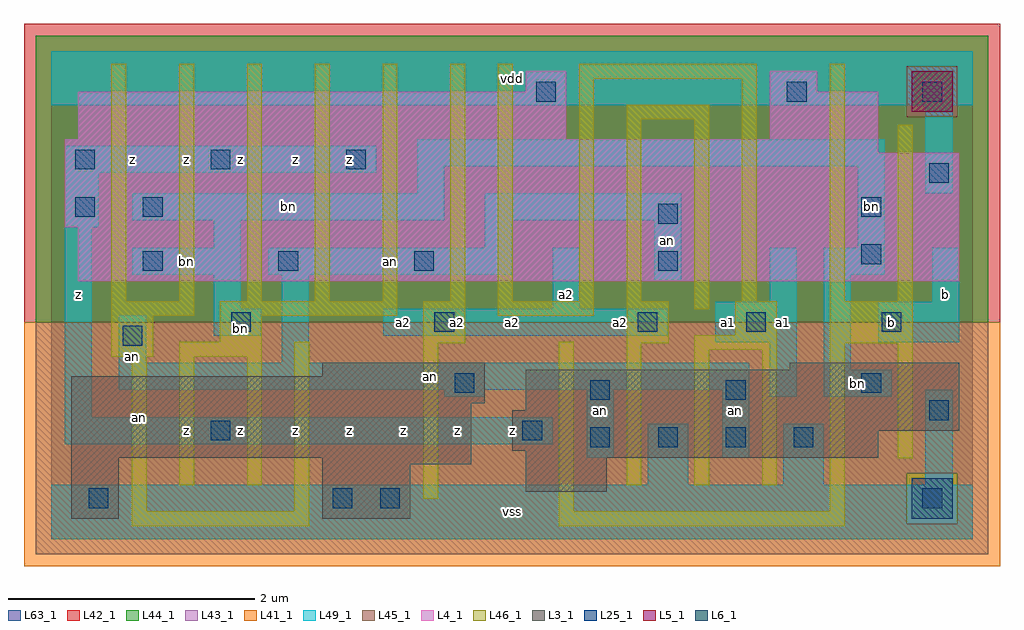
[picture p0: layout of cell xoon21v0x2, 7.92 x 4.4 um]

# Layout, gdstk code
import gdstk
lib = gdstk.Library(unit=1e-6, precision=1e-09)
def R(c, l, rs):  # rectangles x0, y0, x1, y1
    for r in rs: c.add(gdstk.rectangle(r[:2], r[2:], *l))
def A(c, l, x, y, w, h, nx, ny, dx, dy):  # array of equal rectangles
    R(c, l, [(x+i*dx, y+j*dy, x+i*dx+w, y+j*dy+h) for i in range(nx) for j in range(ny)])
L3_1 = (3, 1)
L4_1 = (4, 1)
L5_1 = (5, 1)
L6_1 = (6, 1)
L25_1 = (25, 1)
L41_1 = (41, 1)
L42_1 = (42, 1)
L43_1 = (43, 1)
L44_1 = (44, 1)
L45_1 = (45, 1)
L46_1 = (46, 1)
L49_1 = (49, 1)
L63_1 = (63, 1)

xoon21v0x2 = lib.new_cell('xoon21v0x2')
R(xoon21v0x2, L3_1, [(0.165,0.165,0.55,0.66), (2.2,0.165,2.915,0.605), (3.85,0.385,4.51,0.66), (2.2,0.605,3.41,0.66), (0.165,0.66,3.41,1.1), (3.85,0.66,6.71,0.715), (3.74,0.715,6.71,0.88), (3.74,0.88,7.37,1.045), (3.85,1.045,7.37,1.375), (0.165,1.1,3.52,1.32), (2.2,1.32,3.52,1.43), (5.995,1.375,7.37,1.43)])
R(xoon21v0x2, L4_1, [(0.22,2.09,7.37,2.53), (0.11,2.53,7.37,3.135), (0.11,3.135,6.71,3.245), (0.22,3.245,4.18,3.63), (5.83,3.245,6.71,3.63), (3.85,3.63,4.18,3.795), (5.83,3.63,6.215,3.795)])
R(xoon21v0x2, L5_1, [(6.985,3.465,7.315,3.795)])
R(xoon21v0x2, L6_1, [(6.985,0.165,7.315,0.495)])
A(xoon21v0x2, L25_1, 4.375, 0.745, 0.16, 0.16, 4, 1, 0.55, 0)
A(xoon21v0x2, L25_1, 1.46, 1.68, 0.16, 0.16, 3, 1, 1.65, 0)
A(xoon21v0x2, L25_1, 0.745, 2.175, 0.16, 0.16, 3, 1, 1.1, 0)
A(xoon21v0x2, L25_1, 0.195, 3, 0.16, 0.16, 3, 1, 1.1, 0)
R(xoon21v0x2, L25_1, [(0.305,0.25,0.465,0.41), (2.285,0.25,2.445,0.41), (2.67,0.25,2.83,0.41), (7.07,0.25,7.23,0.41), (1.295,0.8,1.455,0.96), (3.825,0.8,3.985,0.96), (7.125,0.965,7.285,1.125), (4.375,1.13,4.535,1.29), (5.475,1.13,5.635,1.29), (3.275,1.185,3.435,1.345), (6.575,1.185,6.735,1.345), (0.58,1.57,0.74,1.73), (5.64,1.68,5.8,1.84), (6.74,1.68,6.9,1.84), (4.925,2.175,5.085,2.335), (6.575,2.23,6.735,2.39), (4.925,2.56,5.085,2.72), (0.195,2.615,0.355,2.775), (0.745,2.615,0.905,2.775), (6.575,2.615,6.735,2.775), (7.125,2.89,7.285,3.05), (3.935,3.55,4.095,3.71), (5.97,3.55,6.13,3.71), (7.07,3.55,7.23,3.71)])
R(xoon21v0x2, L41_1, [(-0.22,-0.22,7.7,1.76)])
R(xoon21v0x2, L42_1, [(-0.22,1.76,7.7,4.18)])
R(xoon21v0x2, L43_1, [(0.165,0.165,0.55,0.66), (2.2,0.165,2.915,0.605), (6.985,0.165,7.315,0.495), (3.85,0.385,4.51,0.66), (2.2,0.605,3.41,0.66), (0.165,0.66,3.41,1.1), (3.85,0.66,6.71,0.715), (3.74,0.715,6.71,0.88), (3.74,0.88,7.37,1.045), (3.85,1.045,7.37,1.375), (0.165,1.1,3.52,1.32), (2.2,1.32,3.52,1.43), (5.995,1.375,7.37,1.43), (0.22,2.09,7.37,2.53), (0.11,2.53,7.37,3.135), (0.11,3.135,6.71,3.245), (0.22,3.245,4.18,3.63), (5.83,3.245,6.71,3.63), (6.985,3.465,7.315,3.795), (3.85,3.63,4.18,3.795), (5.83,3.63,6.215,3.795)])
R(xoon21v0x2, L44_1, [(6.945,0.125,7.355,0.535), (-0.125,1.76,7.605,3.425), (-0.125,3.425,6.945,3.835), (7.355,3.425,7.605,3.835), (-0.125,3.835,7.605,4.085)])
R(xoon21v0x2, L45_1, [(-0.125,-0.125,7.605,0.125), (-0.125,0.125,6.945,0.535), (7.355,0.125,7.605,0.535), (-0.125,0.535,7.605,1.76), (6.945,3.425,7.355,3.835)])
A(xoon21v0x2, L46_1, 0.49, 1.93, 0.12, 1.925, 6, 1, 0.55, 0)
R(xoon21v0x2, L46_1, [(0.655,0.105,2.095,0.225), (4.12,0.105,6.44,0.225), (0.655,0.225,0.775,1.48), (1.975,0.225,2.095,1.6), (4.12,0.225,4.24,1.6), (6.32,0.225,6.44,1.59), (3.02,0.325,3.14,1.59), (1.04,0.435,1.16,1.48), (1.59,0.435,1.71,1.48), (4.67,0.435,4.79,1.59), (5.22,0.435,5.34,1.535), (5.77,0.435,5.89,1.535), (6.87,0.655,6.99,1.59), (0.49,1.48,0.83,1.81), (1.04,1.48,1.71,1.6), (5.22,1.535,5.89,1.655), (3.02,1.59,3.36,1.93), (4.67,1.59,5.01,1.93), (6.32,1.59,6.99,1.93), (1.37,1.6,1.71,1.81), (5.55,1.655,5.89,1.93), (0.49,1.81,1.16,1.93), (1.37,1.81,2.81,1.93), (3.625,1.81,4.405,1.93), (5.22,1.865,5.34,3.405), (3.625,1.93,3.745,3.855), (4.285,1.93,4.405,3.735), (4.67,1.93,4.79,3.405), (5.605,1.93,5.725,3.735), (6.32,1.93,6.44,3.855), (6.87,1.93,6.99,3.36), (4.67,3.405,5.34,3.525), (4.285,3.735,5.725,3.855)])
R(xoon21v0x2, L49_1, [(0,0,7.48,0.44), (4.84,0.44,5.17,0.935), (5.94,0.44,6.27,0.935), (7.095,0.44,7.315,1.21), (4.345,0.66,4.565,1.21), (5.445,0.66,5.665,1.21), (0.11,0.77,4.07,0.99), (0.11,0.99,0.33,2.53), (3.19,1.155,3.52,1.21), (5.83,1.155,6.05,1.595), (6.27,1.155,6.82,1.375), (0.55,1.21,5.665,1.43), (6.27,1.375,6.49,2.145), (0.55,1.43,0.77,1.815), (1.87,1.43,2.09,2.145), (5.39,1.595,6.05,1.925), (6.71,1.595,7.37,1.925), (1.32,1.65,1.705,1.87), (2.695,1.65,5.005,1.87), (1.32,1.87,1.54,2.145), (4.07,1.87,4.29,2.365), (5.83,1.925,6.05,2.365), (7.15,1.925,7.37,2.365), (4.895,2.09,5.115,2.585), (0.66,2.145,1.54,2.365), (1.76,2.145,3.74,2.365), (6.27,2.145,6.765,2.365), (1.32,2.365,1.54,2.585), (3.52,2.365,3.74,2.585), (6.545,2.365,6.765,3.025), (0.11,2.53,0.385,2.97), (0.66,2.585,3.19,2.805), (3.52,2.585,5.115,2.805), (2.97,2.805,3.19,3.025), (7.095,2.805,7.315,3.52), (0.11,2.97,2.64,3.19), (2.97,3.025,6.765,3.245), (0,3.52,7.48,3.96)])
R(xoon21v0x2, L63_1, [(0,0,7.48,3.96)])
xoon21v0x2.add(gdstk.Label('an', (0.715,0.99), layer=46, texttype=1))
xoon21v0x2.add(gdstk.Label('bn', (1.54,1.705), layer=49, texttype=1))
xoon21v0x2.add(gdstk.Label('z', (0.66,0.88), layer=49, texttype=1))
xoon21v0x2.add(gdstk.Label('z', (1.1,0.88), layer=49, texttype=1))
xoon21v0x2.add(gdstk.Label('an', (0.66,1.485), layer=49, texttype=1))
xoon21v0x2.add(gdstk.Label('z', (0.22,1.98), layer=49, texttype=1))
xoon21v0x2.add(gdstk.Label('z', (0.66,3.08), layer=49, texttype=1))
xoon21v0x2.add(gdstk.Label('z', (1.1,3.08), layer=49, texttype=1))
xoon21v0x2.add(gdstk.Label('z', (1.98,0.88), layer=49, texttype=1))
xoon21v0x2.add(gdstk.Label('z', (2.42,0.88), layer=49, texttype=1))
xoon21v0x2.add(gdstk.Label('z', (1.54,0.88), layer=49, texttype=1))
xoon21v0x2.add(gdstk.Label('bn', (1.485,1.76), layer=49, texttype=1))
xoon21v0x2.add(gdstk.Label('bn', (1.1,2.255), layer=49, texttype=1))
xoon21v0x2.add(gdstk.Label('z', (1.98,3.08), layer=49, texttype=1))
xoon21v0x2.add(gdstk.Label('z', (2.42,3.08), layer=49, texttype=1))
xoon21v0x2.add(gdstk.Label('z', (1.54,3.08), layer=49, texttype=1))
xoon21v0x2.add(gdstk.Label('vss', (3.74,0.22), layer=49, texttype=1))
xoon21v0x2.add(gdstk.Label('z', (3.3,0.88), layer=49, texttype=1))
xoon21v0x2.add(gdstk.Label('z', (3.74,0.88), layer=49, texttype=1))
xoon21v0x2.add(gdstk.Label('z', (2.86,0.88), layer=49, texttype=1))
xoon21v0x2.add(gdstk.Label('a2', (3.3,1.76), layer=49, texttype=1))
xoon21v0x2.add(gdstk.Label('a2', (3.74,1.76), layer=49, texttype=1))
xoon21v0x2.add(gdstk.Label('a2', (2.86,1.76), layer=49, texttype=1))
xoon21v0x2.add(gdstk.Label('a2', (4.18,1.98), layer=49, texttype=1))
xoon21v0x2.add(gdstk.Label('an', (2.75,2.255), layer=49, texttype=1))
xoon21v0x2.add(gdstk.Label('bn', (1.925,2.695), layer=49, texttype=1))
xoon21v0x2.add(gdstk.Label('vdd', (3.74,3.74), layer=49, texttype=1))
xoon21v0x2.add(gdstk.Label('an', (5.555,1.045), layer=49, texttype=1))
xoon21v0x2.add(gdstk.Label('an', (4.455,1.045), layer=49, texttype=1))
xoon21v0x2.add(gdstk.Label('an', (3.08,1.32), layer=49, texttype=1))
xoon21v0x2.add(gdstk.Label('a1', (5.5,1.76), layer=49, texttype=1))
xoon21v0x2.add(gdstk.Label('a1', (5.94,1.76), layer=49, texttype=1))
xoon21v0x2.add(gdstk.Label('a2', (4.62,1.76), layer=49, texttype=1))
xoon21v0x2.add(gdstk.Label('an', (5.005,2.42), layer=49, texttype=1))
xoon21v0x2.add(gdstk.Label('bn', (6.545,1.265), layer=49, texttype=1))
xoon21v0x2.add(gdstk.Label('b', (6.82,1.76), layer=49, texttype=1))
xoon21v0x2.add(gdstk.Label('b', (7.26,1.98), layer=49, texttype=1))
xoon21v0x2.add(gdstk.Label('bn', (6.655,2.695), layer=49, texttype=1))

lib.write_gds('xoon21v0x2.gds')
